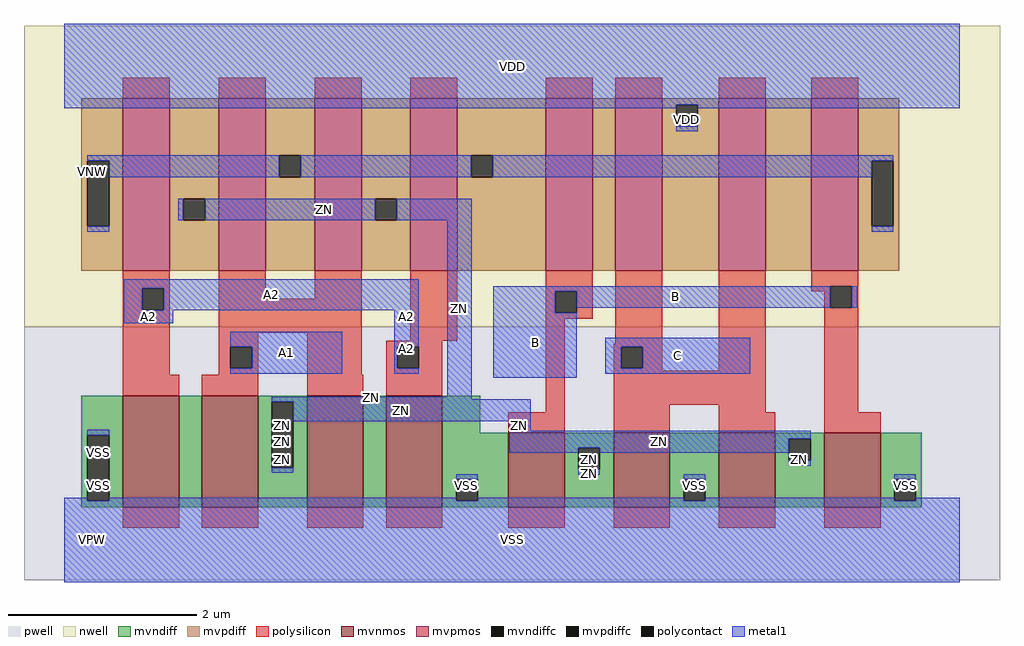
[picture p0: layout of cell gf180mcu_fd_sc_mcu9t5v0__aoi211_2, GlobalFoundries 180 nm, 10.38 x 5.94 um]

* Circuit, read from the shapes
.subckt gf180mcu_fd_sc_mcu9t5v0__aoi211_2 A1 A2 B C ZN VDD VNW VPW VSS
XM1 n1 A2 VSS VPW nfet_06v0 w=1.185u l=0.6u
XM2 ZN A1 n1 VPW nfet_06v0 w=1.185u l=0.6u
XM3 n2 A1 ZN VPW nfet_06v0 w=1.185u l=0.6u
XM4 VSS A2 n2 VPW nfet_06v0 w=1.185u l=0.6u
XM5 ZN B VSS VPW nfet_06v0 w=0.79u l=0.6u m=2
XM6 VSS C ZN VPW nfet_06v0 w=0.79u l=0.6u m=2
XM7 ZN A2 n3 VNW pfet_06v0 w=1.83u l=0.5u m=2
XM8 n3 A1 ZN VNW pfet_06v0 w=1.83u l=0.5u m=2
XM9 n4 B n3 VNW pfet_06v0 w=1.83u l=0.5u
XM10 VDD C n4 VNW pfet_06v0 w=1.83u l=0.5u
XM11 n5 C VDD VNW pfet_06v0 w=1.83u l=0.5u
XM12 n3 B n5 VNW pfet_06v0 w=1.83u l=0.5u
.ends

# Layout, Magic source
magic
tech gf180mcuD
magscale 1 10
<< nwell >>
rect -86 453 1990 1094
<< pwell >>
rect -86 -86 1990 453
<< mvnmos >>
rect 124 70 244 307
rect 292 70 412 307
rect 516 70 636 307
rect 684 70 804 307
rect 944 70 1064 228
rect 1168 70 1288 228
rect 1392 70 1512 228
rect 1616 70 1736 228
<< mvpmos >>
rect 124 573 224 939
rect 328 573 428 939
rect 532 573 632 939
rect 736 573 836 939
rect 1024 573 1124 939
rect 1172 573 1272 939
rect 1392 573 1492 939
rect 1588 573 1688 939
<< mvndiff >>
rect 36 223 124 307
rect 36 83 49 223
rect 95 83 124 223
rect 36 70 124 83
rect 244 70 292 307
rect 412 294 516 307
rect 412 154 441 294
rect 487 154 516 294
rect 412 70 516 154
rect 636 70 684 307
rect 804 228 884 307
rect 804 129 944 228
rect 804 83 833 129
rect 879 83 944 129
rect 804 70 944 83
rect 1064 196 1168 228
rect 1064 150 1093 196
rect 1139 150 1168 196
rect 1064 70 1168 150
rect 1288 129 1392 228
rect 1288 83 1317 129
rect 1363 83 1392 129
rect 1288 70 1392 83
rect 1512 215 1616 228
rect 1512 169 1541 215
rect 1587 169 1616 215
rect 1512 70 1616 169
rect 1736 129 1824 228
rect 1736 83 1765 129
rect 1811 83 1824 129
rect 1736 70 1824 83
<< mvpdiff >>
rect 36 807 124 939
rect 36 667 49 807
rect 95 667 124 807
rect 36 573 124 667
rect 224 726 328 939
rect 224 680 253 726
rect 299 680 328 726
rect 224 573 328 680
rect 428 818 532 939
rect 428 772 457 818
rect 503 772 532 818
rect 428 573 532 772
rect 632 726 736 939
rect 632 680 661 726
rect 707 680 736 726
rect 632 573 736 680
rect 836 818 1024 939
rect 836 772 865 818
rect 911 772 1024 818
rect 836 573 1024 772
rect 1124 573 1172 939
rect 1272 926 1392 939
rect 1272 880 1301 926
rect 1347 880 1392 926
rect 1272 573 1392 880
rect 1492 573 1588 939
rect 1688 807 1776 939
rect 1688 667 1717 807
rect 1763 667 1776 807
rect 1688 573 1776 667
<< mvndiffc >>
rect 49 83 95 223
rect 441 154 487 294
rect 833 83 879 129
rect 1093 150 1139 196
rect 1317 83 1363 129
rect 1541 169 1587 215
rect 1765 83 1811 129
<< mvpdiffc >>
rect 49 667 95 807
rect 253 680 299 726
rect 457 772 503 818
rect 661 680 707 726
rect 865 772 911 818
rect 1301 880 1347 926
rect 1717 667 1763 807
<< polysilicon >>
rect 124 939 224 983
rect 328 939 428 983
rect 532 939 632 983
rect 736 939 836 983
rect 1024 939 1124 983
rect 1172 939 1272 983
rect 1392 939 1492 983
rect 1588 939 1688 983
rect 124 535 224 573
rect 124 489 165 535
rect 211 489 224 535
rect 124 351 224 489
rect 328 513 428 573
rect 532 513 632 573
rect 328 441 632 513
rect 328 411 412 441
rect 328 365 353 411
rect 399 365 412 411
rect 328 351 412 365
rect 124 307 244 351
rect 292 307 412 351
rect 516 351 632 441
rect 736 424 836 573
rect 1024 529 1124 573
rect 1024 483 1044 529
rect 1090 483 1124 529
rect 1024 470 1124 483
rect 684 411 804 424
rect 684 365 708 411
rect 754 365 804 411
rect 516 307 636 351
rect 684 307 804 365
rect 1024 272 1064 470
rect 1172 416 1272 573
rect 944 228 1064 272
rect 1168 411 1272 416
rect 1168 365 1184 411
rect 1230 365 1272 411
rect 1168 360 1272 365
rect 1392 360 1492 573
rect 1588 540 1688 573
rect 1588 529 1629 540
rect 1168 288 1492 360
rect 1168 228 1288 288
rect 1392 272 1492 288
rect 1616 494 1629 529
rect 1675 494 1688 540
rect 1616 272 1688 494
rect 1392 228 1512 272
rect 1616 228 1736 272
rect 124 26 244 70
rect 292 26 412 70
rect 516 26 636 70
rect 684 26 804 70
rect 944 26 1064 70
rect 1168 26 1288 70
rect 1392 26 1512 70
rect 1616 26 1736 70
<< polycontact >>
rect 165 489 211 535
rect 353 365 399 411
rect 1044 483 1090 529
rect 708 365 754 411
rect 1184 365 1230 411
rect 1629 494 1675 540
<< metal1 >>
rect 0 926 1904 1098
rect 0 918 1301 926
rect 1347 918 1904 926
rect 1301 869 1347 880
rect 49 807 457 818
rect 95 772 457 807
rect 503 772 865 818
rect 911 807 1763 818
rect 911 772 1717 807
rect 242 680 253 726
rect 299 680 661 726
rect 707 680 866 726
rect 49 656 95 667
rect 126 535 754 555
rect 126 489 165 535
rect 211 489 754 535
rect 126 461 231 489
rect 353 411 591 443
rect 399 365 591 411
rect 353 354 591 365
rect 702 411 754 489
rect 702 365 708 411
rect 702 354 754 365
rect 814 305 866 680
rect 1717 656 1763 667
rect 912 529 1629 540
rect 912 483 1044 529
rect 1090 494 1629 529
rect 1675 494 1686 540
rect 912 345 1090 483
rect 1150 411 1459 430
rect 1150 365 1184 411
rect 1230 365 1459 411
rect 1150 354 1459 365
rect 441 299 866 305
rect 441 294 992 299
rect 49 223 95 234
rect 0 83 49 90
rect 487 253 992 294
rect 946 232 992 253
rect 946 215 1587 232
rect 946 196 1541 215
rect 946 186 1093 196
rect 441 143 487 154
rect 1139 186 1541 196
rect 1541 158 1587 169
rect 833 129 879 140
rect 1093 139 1139 150
rect 95 83 833 90
rect 1317 129 1363 140
rect 879 83 1317 90
rect 1765 129 1811 140
rect 1363 83 1765 90
rect 1811 83 1904 90
rect 0 -90 1904 83
<< labels >>
flabel metal1 s 353 354 591 443 0 FreeSans 200 0 0 0 A1
port 1 nsew default input
flabel metal1 s 126 489 754 555 0 FreeSans 200 0 0 0 A2
port 2 nsew default input
flabel metal1 s 912 494 1686 540 0 FreeSans 200 0 0 0 B
port 3 nsew default input
flabel metal1 s 1150 354 1459 430 0 FreeSans 200 0 0 0 C
port 4 nsew default input
flabel metal1 s 0 918 1904 1098 0 FreeSans 200 0 0 0 VDD
port 6 nsew power bidirectional abutment
flabel metal1 s 49 140 95 234 0 FreeSans 200 0 0 0 VSS
port 9 nsew ground bidirectional abutment
flabel metal1 s 242 680 866 726 0 FreeSans 200 0 0 0 ZN
port 5 nsew default output
flabel nwell s 10 734 110 834 0 FreeSans 400 0 0 0 VNW
port 7 nsew power bidirectional
flabel pwell s 10 -50 110 50 0 FreeSans 400 0 0 0 VPW
port 8 nsew ground bidirectional
rlabel metal1 s 702 461 754 489 1 A2
port 2 nsew default input
rlabel metal1 s 126 461 231 489 1 A2
port 2 nsew default input
rlabel metal1 s 702 354 754 461 1 A2
port 2 nsew default input
rlabel metal1 s 912 345 1090 494 1 B
port 3 nsew default input
rlabel metal1 s 814 305 866 680 1 ZN
port 5 nsew default output
rlabel metal1 s 441 299 866 305 1 ZN
port 5 nsew default output
rlabel metal1 s 441 253 992 299 1 ZN
port 5 nsew default output
rlabel metal1 s 946 232 992 253 1 ZN
port 5 nsew default output
rlabel metal1 s 441 232 487 253 1 ZN
port 5 nsew default output
rlabel metal1 s 946 186 1587 232 1 ZN
port 5 nsew default output
rlabel metal1 s 441 186 487 232 1 ZN
port 5 nsew default output
rlabel metal1 s 1541 158 1587 186 1 ZN
port 5 nsew default output
rlabel metal1 s 1093 158 1139 186 1 ZN
port 5 nsew default output
rlabel metal1 s 441 158 487 186 1 ZN
port 5 nsew default output
rlabel metal1 s 1093 143 1139 158 1 ZN
port 5 nsew default output
rlabel metal1 s 441 143 487 158 1 ZN
port 5 nsew default output
rlabel metal1 s 1093 139 1139 143 1 ZN
port 5 nsew default output
rlabel metal1 s 1301 869 1347 918 1 VDD
port 6 nsew power bidirectional abutment
rlabel metal1 s 1765 90 1811 140 1 VSS
port 9 nsew ground bidirectional abutment
rlabel metal1 s 1317 90 1363 140 1 VSS
port 9 nsew ground bidirectional abutment
rlabel metal1 s 833 90 879 140 1 VSS
port 9 nsew ground bidirectional abutment
rlabel metal1 s 49 90 95 140 1 VSS
port 9 nsew ground bidirectional abutment
rlabel metal1 s 0 -90 1904 90 1 VSS
port 9 nsew ground bidirectional abutment
<< properties >>
string FIXED_BBOX 0 0 1904 1008
string GDS_END 1207240
string GDS_FILE $PDKPATH/libs.ref/gf180mcu_fd_sc_mcu9t5v0/gds/gf180mcu_fd_sc_mcu9t5v0.gds
string GDS_START 1202632
string LEFclass core
string LEFsite GF018hv5v_green_sc9
string LEFsymmetry X Y
<< end >>
